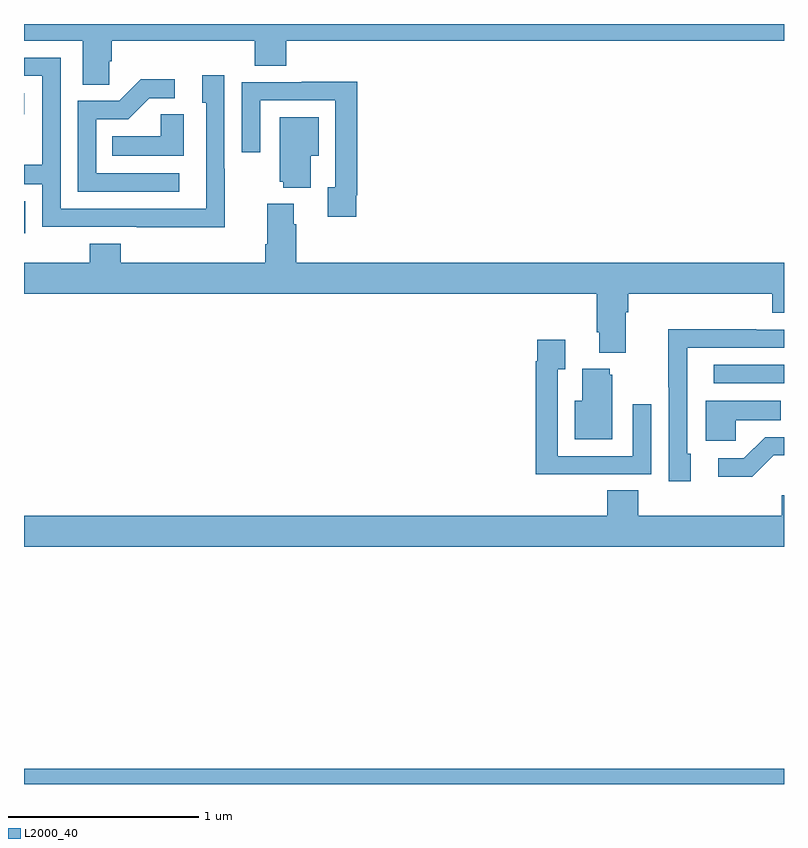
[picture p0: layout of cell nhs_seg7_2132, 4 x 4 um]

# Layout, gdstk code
import gdstk
lib = gdstk.Library(unit=1e-6, precision=1e-09)
def R(c, l, rs):  # rectangles x0, y0, x1, y1
    for r in rs: c.add(gdstk.rectangle(r[:2], r[2:], *l))
def P(c, l, *ps):  # polygons
    for p in ps: c.add(gdstk.Polygon(p, *l))
L2000_40 = (2000, 40)

nhs_seg7_2132 = lib.new_cell('nhs_seg7_2132')
R(nhs_seg7_2132, L2000_40, [(251,1034,255,1034.08), (254.631,1036.11,255,1036.206), (251,1036.899,251.007,1037.067), (251,1037.525,251.002,1037.635)])
P(nhs_seg7_2132, L2000_40, [(251.448,1037.803),(251.462,1037.803),(251.462,1037.912),(252.215,1037.912),(252.215,1037.779),(252.38,1037.779),(252.38,1037.912),(255,1037.912),(255,1038),(251,1038),(251,1037.912),(251.309,1037.912),(251.309,1037.68),(251.448,1037.68)],
  [(252.057,1037.237),(252.054,1037.237),(252.054,1037.731),(251.939,1037.731),(251.939,1037.586),(251.958,1037.586),(251.958,1037.028),(251.193,1037.028),(251.193,1037.823),(251,1037.823),(251,1037.727),(251.097,1037.727),(251.097,1037.258),(251,1037.258),(251,1037.157),(251.097,1037.157),(251.097,1036.932),(251.593,1036.932),(251.593,1036.93),(252.057,1036.93)],
  [(251.818,1037.214),(251.379,1037.214),(251.379,1037.499),(251.548,1037.499),(251.659,1037.61),(251.794,1037.61),(251.794,1037.708),(251.615,1037.708),(251.502,1037.595),(251.283,1037.595),(251.283,1037.118),(251.818,1037.118)],
  [(252.748,1037.098),(252.755,1037.098),(252.755,1037.696),(252.463,1037.696),(252.463,1037.694),(252.147,1037.694),(252.147,1037.325),(252.243,1037.325),(252.243,1037.598),(252.639,1037.598),(252.639,1037.142),(252.599,1037.142),(252.599,1036.986),(252.748,1036.986)],
  [(251.842,1037.525),(251.721,1037.525),(251.721,1037.41),(251.464,1037.41),(251.464,1037.306),(251.842,1037.306)],
  [(252.508,1037.306),(252.55,1037.306),(252.55,1037.509),(252.347,1037.509),(252.347,1037.169),(252.365,1037.169),(252.365,1037.138),(252.508,1037.138)],
  [(254.167,1036.484),(254.18,1036.484),(254.18,1036.58),(254.939,1036.58),(254.939,1036.481),(255,1036.481),(255,1036.744),(252.434,1036.744),(252.434,1036.946),(252.421,1036.946),(252.421,1037.053),(252.281,1037.053),(252.281,1036.84),(252.269,1036.84),(252.269,1036.744),(251.51,1036.744),(251.51,1036.843),(251.345,1036.843),(251.345,1036.744),(251,1036.744),(251,1036.58),(254.015,1036.58),(254.015,1036.378),(254.027,1036.378),(254.027,1036.271),(254.167,1036.271)],
  [(254.509,1035.738),(254.49,1035.738),(254.49,1036.042),(254.491,1036.042),(254.491,1036.296),(255,1036.296),(255,1036.392),(254.855,1036.392),(254.855,1036.394),(254.392,1036.394),(254.392,1036.087),(254.394,1036.087),(254.394,1035.594),(254.509,1035.594)],
  [(253.985,1035.63),(254.301,1035.63),(254.301,1036),(254.205,1036),(254.205,1035.726),(253.809,1035.726),(253.809,1036.183),(253.849,1036.183),(253.849,1036.339),(253.701,1036.339),(253.701,1036.226),(253.693,1036.226),(253.693,1035.629),(253.985,1035.629)],
  [(254.095,1036.155),(254.084,1036.155),(254.084,1036.186),(253.937,1036.186),(253.937,1036.018),(253.898,1036.018),(253.898,1035.815),(254.095,1035.815)],
  [(254.745,1035.914),(254.984,1035.914),(254.984,1036.018),(254.588,1036.018),(254.588,1035.806),(254.745,1035.806)],
  [(254.946,1035.729),(255,1035.729),(255,1035.825),(254.9,1035.825),(254.789,1035.714),(254.655,1035.714),(254.655,1035.617),(254.833,1035.617)],
  [(255,1035.521),(254.987,1035.521),(254.987,1035.412),(254.234,1035.412),(254.234,1035.545),(254.069,1035.545),(254.069,1035.412),(251,1035.412),(251,1035.248),(255,1035.248)])

lib.write_gds('nhs_seg7_2132.gds')
